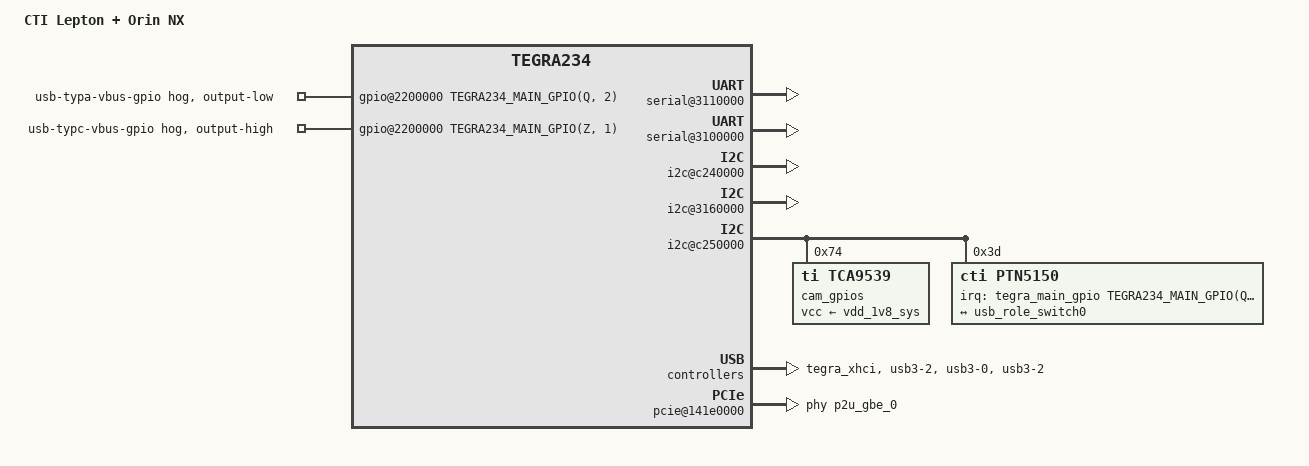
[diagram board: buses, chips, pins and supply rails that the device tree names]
/*
 * Copyright (c) 2023, Connect Tech Inc.  All rights reserved.
 *
 * This program is free software; you can redistribute it and/or modify it
 * under the terms and conditions of the GNU General Public License,
 * version 2, as published by the Free Software Foundation.
 *
 * This program is distributed in the hope it will be useful, but WITHOUT
 * ANY WARRANTY; without even the implied warranty of MERCHANTABILITY or
 * FITNESS FOR A PARTICULAR PURPOSE.  See the GNU General Public License for
 * more details.
 *
 * You should have received a copy of the GNU General Public License
 * along with this program.  If not, see <http://www.gnu.org/licenses/>.
 */

#include "tegra234-orin-nx-cti-base.dtsi"

/{
    nvidia,dtsfilename = "tegra234-orin-nx-cti-NGX022.dts";
    
    model = "CTI Lepton + Orin NX";
    //enable serial connections
    // UART 0 /dev/ttyTHS1
    serial@3110000 {
        status = "okay";
    };
    // UART 1 /dev/ttyTHS0
    serial@3100000 {/* UARTA, for 40 pin header */
        status = "okay";
    };
    
    fixed-regulators {
        regulator@200 {
            /delete-property/ gpio;
        };
    };
    
    pwm-fan {
        status = "disabled";
        /delete-property/ pwms;
    };
    //disable spi2
    spi@3230000{
        status = "disabled";
    };
    /**define i2c-0*/
    i2c@c240000{
		status = "okay";
	};
	
	/**define i2c-2*/
    i2c@3160000{
        status = "okay";
    };

    /** define tca9539 on i2c-1*/
    i2c@c250000 {
        status = "okay";
        cam_gpios:tca9539@74{
            status = "okay";
            compatible="ti,tca9539";
            vcc-supply = <&vdd_1v8_sys>;
            gpio-controller;
            #gpio-cells=<2>;
            reg=<0x74>;
        };
		/** PTN5150 */
		ptn5150@3d{
            reg = <0x3d>;
            compatible = "cti,ptn5150";
            status = "okay";
            interrupt-parent = <&tegra_main_gpio>;
            interrupts = <TEGRA234_MAIN_GPIO(Q, 5) IRQ_TYPE_LEVEL_LOW>;
            
            connector@0 {
                compatible = "usb-c-connector";
                label = "USB-C";
                data-role = "dual";

                //Supported Advertised Current Modes: "default" (900mA), "1.5A", "3.0A"
                power-opmode = "1.5A";
                port {
                    ptn5150_typec0_ep: endpoint {
                        remote-endpoint = <&usb_role_switch0>;
                    };
                };
            };

        };
    };
	
	tegra_xhci: xhci@3610000 {
		status = "okay";
		phys =	<&{/xusb_padctl@3520000/pads/usb2/lanes/usb2-0}>,
				<&{/xusb_padctl@3520000/pads/usb2/lanes/usb2-1}>,
				<&{/xusb_padctl@3520000/pads/usb2/lanes/usb2-2}>,
				<&{/xusb_padctl@3520000/pads/usb3/lanes/usb3-0}>,
				<&{/xusb_padctl@3520000/pads/usb3/lanes/usb3-2}>;
		phy-names = "usb2-0", "usb2-1", "usb2-2", "usb3-0", "usb3-2";
	};
	
    xusb_padctl@3520000 {
		pads {
				usb3 {
					lanes {
						usb3-2 {
							nvidia,function = "xusb";
							status = "okay";
						};
					};
				};
			};
        ports {
			usb2-0 {
                /delete-node/ connector;
				port{
					usb_role_switch0: endpoint {
						remote-endpoint = <&ptn5150_typec0_ep>;
					};
				};
			};
            usb3-0 {
				nvidia,usb2-companion = <0>;
				status = "okay";
			};
			usb3-2 {
				nvidia,usb2-companion = <2>;
				status = "okay";
			};
        };
    };
	
	//pcie limit 3rd gen
    //14160000 Limit max of NVMe port to gen 3 to avoid AER errors
    pcie@14160000{
        max-link-speed=<0x3>;
    };
	
	/** i210 pcie-2 c7 */
	pcie@141e0000 {
        status = "okay";
        phys = <&p2u_gbe_0>;
        phy-names = "p2u-0";
    };
	
	gpio@2200000 {
        usb-typa-vbus-gpio{  //all type-a usb  
            status="okay";
            gpio-hog;
            output-low;
            gpios=<TEGRA234_MAIN_GPIO(Q, 2) GPIO_ACTIVE_HIGH>;
            label="usb-typa-vbus-gpio";
        };
		usb-typc-vbus-gpio{  //type-c otg vbus-en
            status="okay";
            gpio-hog;
            output-high;
            gpios=<TEGRA234_MAIN_GPIO(Z, 1) GPIO_ACTIVE_HIGH>;
            label="usb-typc-vbus-gpio";
        };
    };

};

